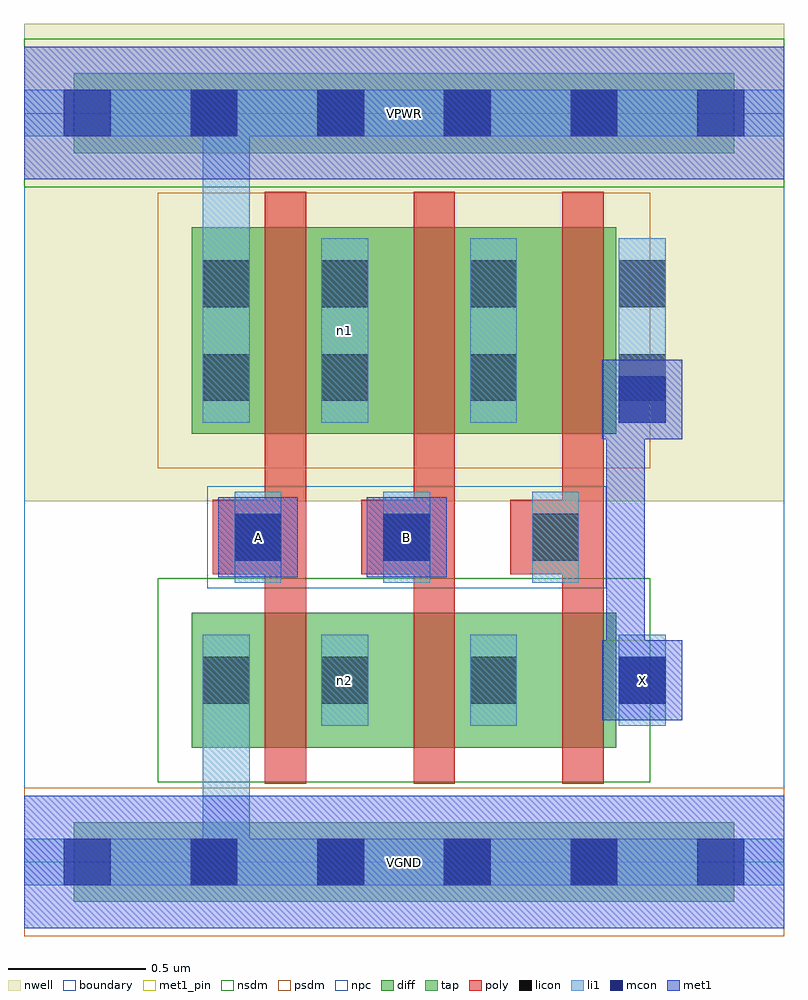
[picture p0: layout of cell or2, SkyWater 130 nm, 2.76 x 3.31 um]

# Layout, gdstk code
import gdstk
lib = gdstk.Library(unit=1e-6, precision=1e-09)
def R(c, l, rs):  # rectangles x0, y0, x1, y1
    for r in rs: c.add(gdstk.rectangle(r[:2], r[2:], *l))
def A(c, l, x, y, w, h, nx, ny, dx, dy):  # array of equal rectangles
    R(c, l, [(x+i*dx, y+j*dy, x+i*dx+w, y+j*dy+h) for i in range(nx) for j in range(ny)])
nwell = (64, 20)
diff = (65, 20)
tap = (65, 44)
poly = (66, 20)
licon = (66, 44)
li1 = (67, 20)
mcon = (67, 44)
met1_pin = (68, 16)
met1 = (68, 20)
nsdm = (93, 44)
psdm = (94, 20)
npc = (95, 20)
boundary = (235, 4)

or2 = lib.new_cell('or2')
R(or2, nwell, [(0,1.31,2.76,3.045)])
R(or2, diff, [(0.61,0.415,2.15,0.905), (0.61,1.555,2.15,2.305)])
R(or2, tap, [(0.18,-0.145,2.58,0.145), (0.18,2.575,2.58,2.865)])
A(or2, poly, 0.875, 0.285, 0.15, 2.15, 3, 1, 0.54, 0)
A(or2, poly, 0.685, 1.045, 0.33, 0.27, 3, 1, 0.54, 0)
A(or2, licon, 0.605, -0.085, 0.17, 0.17, 4, 2, 0.46, 2.72)
A(or2, licon, 1.08, 0.575, 0.17, 0.17, 3, 2, 0.54, 1.1)
A(or2, licon, 0.765, 1.095, 0.17, 0.17, 3, 1, 0.54, 0)
A(or2, licon, 1.08, 2.015, 0.17, 0.17, 3, 1, 0.54, 0)
R(or2, licon, [(0.65,0.575,0.82,0.745), (0.65,1.675,0.82,1.845), (0.65,2.015,0.82,2.185)])
A(or2, li1, 1.08, 0.495, 0.17, 0.33, 3, 1, 0.54, 0)
A(or2, li1, 0.765, 1.015, 0.17, 0.33, 3, 1, 0.54, 0)
A(or2, li1, 1.08, 1.595, 0.17, 0.67, 3, 1, 0.54, 0)
R(or2, li1, [(0,-0.085,2.76,0.085), (0.65,-0.085,0.82,0.825), (0.65,0.495,0.82,0.825), (0.65,1.595,0.82,2.265), (0.65,1.595,0.82,2.805), (0,2.635,2.76,2.805)])
A(or2, mcon, 0.145, -0.085, 0.17, 0.17, 6, 2, 0.46, 2.72)
R(or2, mcon, [(2.16,0.575,2.33,0.745), (0.765,1.095,0.935,1.265), (1.305,1.095,1.475,1.265), (2.16,1.595,2.33,1.765)])
R(or2, met1_pin, [(0,-0.24,2.76,0.24), (2.1,0.515,2.39,0.805), (0.705,1.035,0.995,1.325), (1.245,1.035,1.535,1.325), (0,2.48,2.76,2.96)])
R(or2, met1, [(0,-0.24,2.76,0.24), (2.1,0.515,2.39,0.805), (2.115,0.62,2.255,0.76), (2.115,0.62,2.255,1.565), (0.705,1.035,0.995,1.325), (1.245,1.035,1.535,1.325), (2.115,1.425,2.255,1.75), (2.1,1.535,2.39,1.825), (2.115,1.61,2.315,1.75), (0,2.48,2.76,2.96)])
R(or2, nsdm, [(0.485,0.29,2.275,1.03), (0,2.45,2.76,2.99)])
R(or2, psdm, [(0,-0.27,2.76,0.27), (0.485,1.43,2.275,2.43)])
R(or2, npc, [(0.665,0.995,2.115,1.365)])
R(or2, boundary, [(0,0,2.76,2.72)])
or2.add(gdstk.Label('n2', (1.165,0.66), layer=67, texttype=5))
or2.add(gdstk.Label('n1', (1.165,1.93), layer=67, texttype=5))
or2.add(gdstk.Label('A', (0.85,1.18), layer=68, texttype=5))
or2.add(gdstk.Label('B', (1.39,1.18), layer=68, texttype=5))
or2.add(gdstk.Label('X', (2.245,0.66), layer=68, texttype=5))
or2.add(gdstk.Label('VPWR', (1.38,2.72), layer=68, texttype=5))
or2.add(gdstk.Label('VGND', (1.38,0), layer=68, texttype=5))
or2.add(gdstk.Label('A', (0.85,1.18), layer=68, texttype=16))
or2.add(gdstk.Label('B', (1.39,1.18), layer=68, texttype=16))
or2.add(gdstk.Label('X', (2.245,0.66), layer=68, texttype=16))
or2.add(gdstk.Label('VPWR', (1.38,2.72), layer=68, texttype=16))
or2.add(gdstk.Label('VGND', (1.38,0), layer=68, texttype=16))

lib.write_gds('or2.gds')
